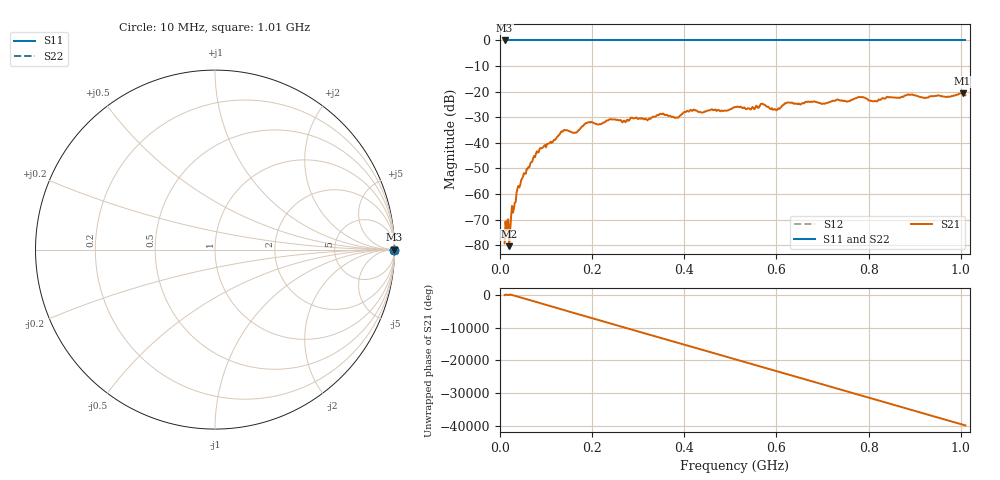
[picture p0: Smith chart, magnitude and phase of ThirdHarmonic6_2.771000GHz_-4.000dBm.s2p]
! 8/17/2025 7:02:54 AM
! C:\ANRITSUVNA\TEMP\TEMP.S2P
! CHANNEL.1
! TR.MEASUREMENT
! RAW.DATA
! RF.CORRECTION.OFF
! AVERAGING.OFF
! IF.BANDWIDTH: 5KHZ
! SWEEPTYPE:  FREQ.SWEEP(Linear)
! Reference Plane Port Info
! PORT:  PORT1  PORT2
! DISTANCE:  0  m  0  m
! TIME:  0  s  0  s
! PHASE.OFFSET:  0  deg.  0  deg.
! LOSS:  0  dB  0  dB
! REF.LOSS:  0  dB  0  dB
! REF.FREQ:  0  Hz  0  Hz
! Power Info
! POWER:  -20  dBm  -20  dBm
! EFF.POWER:  -20  dBm  -20  dBm
! SOURCE.ATTEN:  0  dB  0  dB
! TEST.ATTEN:  0  dB  0  dB
# GHZ S RI R 50.0
! FREQ.GHZ  S11RE  S11IM  S21RE  S21IM  S12RE  S12IM  S22RE  S22IM
!; PortSelection: Port_12
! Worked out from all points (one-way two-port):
!   501 points, 10 MHz to 1.01 GHz, reference 50 ohm
!   highest |S21| = -20.63 dB at 1.004 GHz (marker M1); lowest = -80.3 dB at 20 MHz (marker M2)
!   lowest |S11| = 0.0 dB at 10 MHz (marker M3)
!   |S11| at or under -10 dB: nowhere
!   |S22| runs from 0.0 to 0.0 dB; largest |S21 - S12| = 1.1
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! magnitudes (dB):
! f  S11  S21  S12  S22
! 10 MHz  0.0  -79.2  0.0  0.0
! 14 MHz  0.0  -74.1  0.0  0.0
! 20 MHz  0.0  -80.3  0.0  0.0
! 24 MHz  0.0  -69.0  0.0  0.0
! 42 MHz  0.0  -57.4  0.0  0.0
! 76 MHz  0.0  -45.6  0.0  0.0
! 136 MHz  0.0  -35.6  0.0  0.0
! 162 MHz  0.0  -36.0  0.0  0.0
! 178 MHz  0.0  -33.6  0.0  0.0
! 344 MHz  0.0  -29.2  0.0  0.0
! 384 MHz  0.0  -30.1  0.0  0.0
! 410 MHz  0.0  -27.8  0.0  0.0
! 510 MHz  0.0  -26.0  0.0  0.0
! 570 MHz  0.0  -24.7  0.0  0.0
! 598 MHz  0.0  -27.0  0.0  0.0
! 622 MHz  0.0  -24.4  0.0  0.0
! 678 MHz  0.0  -24.0  0.0  0.0
! 782 MHz  0.0  -22.1  0.0  0.0
! 814 MHz  0.0  -23.6  0.0  0.0
! 844 MHz  0.0  -22.2  0.0  0.0
! 1.004 GHz  0.0  -20.6  0.0  0.0
! 1.01 GHz  0.0  -21.4  0.0  0.0
